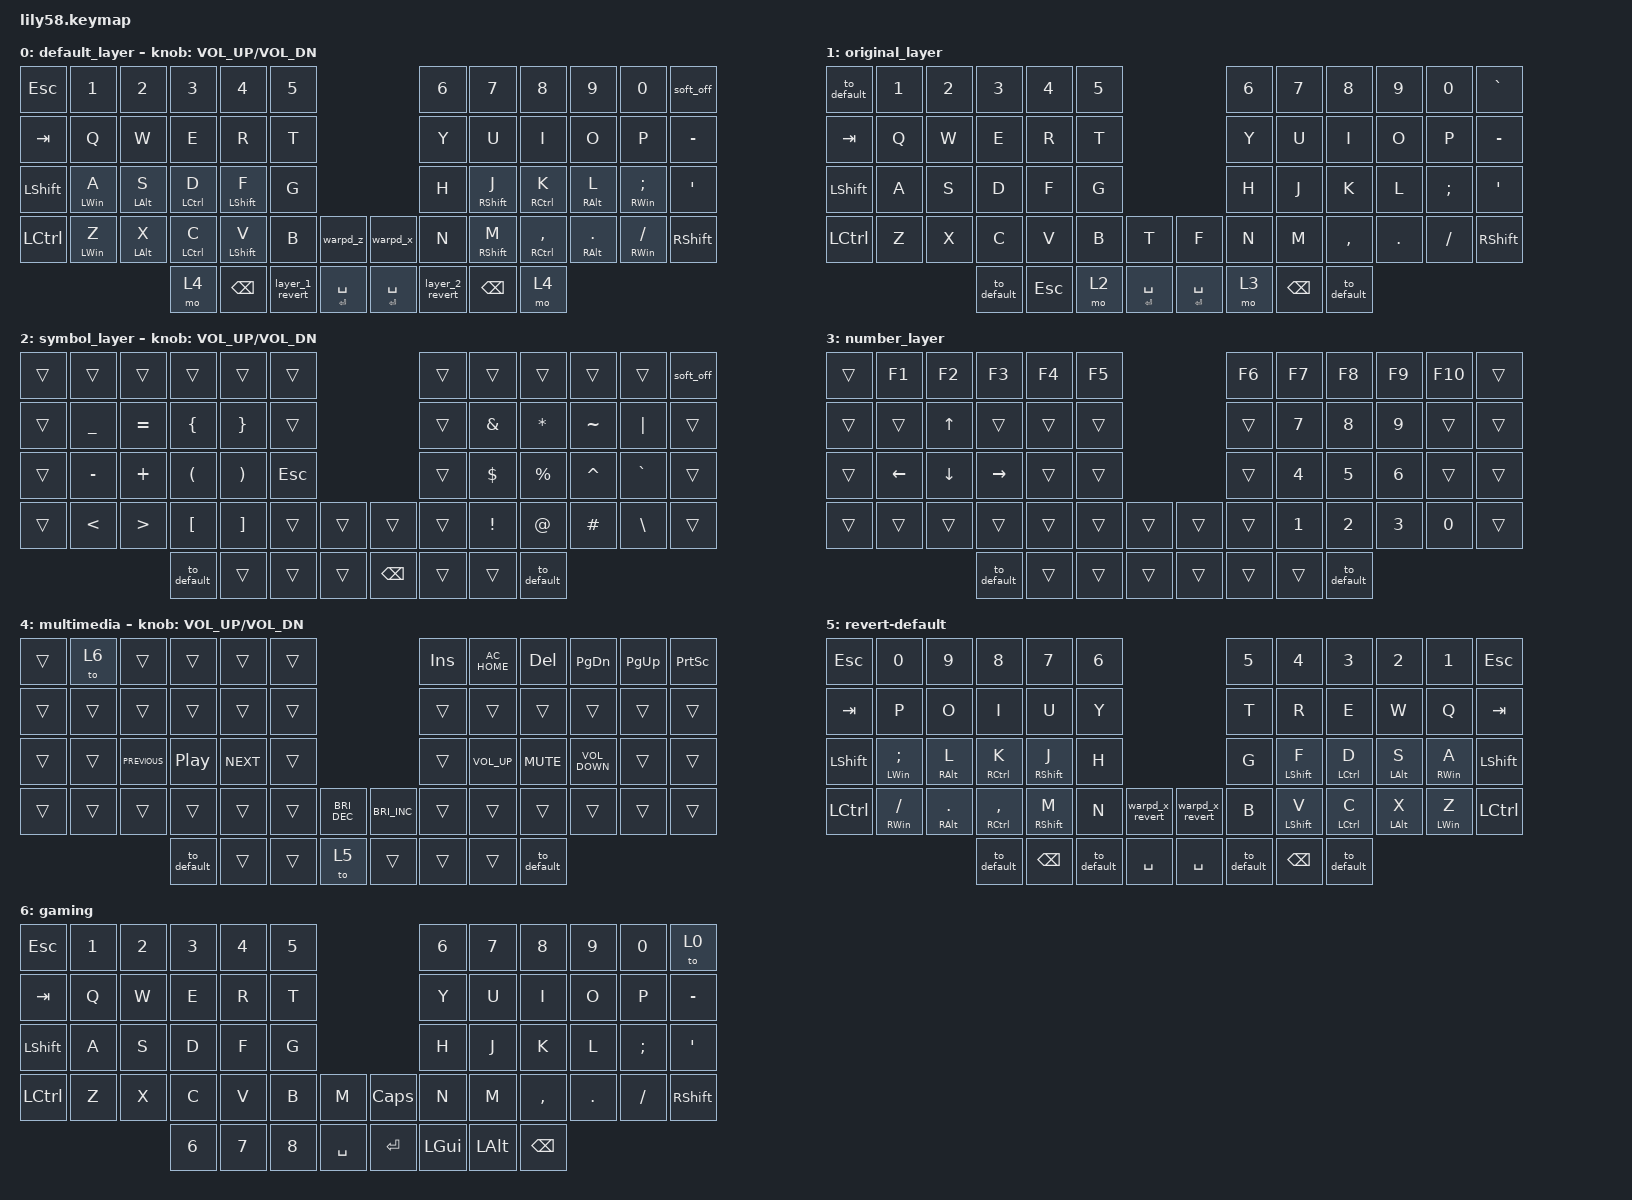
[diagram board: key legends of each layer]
/*
 * Copyright (c) 2020 The ZMK Contributors
 *
 * SPDX-License-Identifier: MIT
 */

#include <behaviors.dtsi>
#include <dt-bindings/zmk/keys.h>

&soft_off {
    hold-time-ms = <1000>; // Only turn off it the key is held for 5 seconds or longer.
};

&soft_off {
    /delete-property/ split-peripheral-off-on-press;

    hold-time-ms = <1000>;
};

/ {
    behaviors {
        layer_1_3: layer_1_3 {
            compatible = "zmk,behavior-tap-dance";
            label = "LAYER_1_3";
            #binding-cells = <0>;
            bindings = <&mo 2>, <&mo 4>;

            tapping-term-ms = <1000>;
        };

        layer_2_4: layer_2_4 {
            compatible = "zmk,behavior-tap-dance";
            label = "LAYER_2_4";
            #binding-cells = <0>;
            bindings = <&mo 3>, <&mo 1>;

            tapping-term-ms = <1000>;
        };

        holdtap: holdtap {
            compatible = "zmk,behavior-hold-tap";
            label = "HOLDTAP";
            bindings = <&kp>, <&kp>;

            #binding-cells = <2>;
            tapping-term-ms = <200>;
            flavor = "tap-preferred";
            quick-tap-ms = <150>;
            hold-trigger-on-release;
        };

        homerow_left: homerow_left {
            compatible = "zmk,behavior-hold-tap";
            label = "HOMEROW_LEFT";
            bindings = <&kp>, <&kp>;

            #binding-cells = <2>;
            tapping-term-ms = <250>;
            flavor = "balanced";
            hold-trigger-on-release;
            hold-trigger-key-positions = <44 6 7 8 9 10 11 18 19 20 21 22 23 30 31 32 33 34 35 44 45 46 47 48 49 54 55 56 57 43>;
            quick-tap-ms = <175>;
        };

        homerow_right: homerow_right {
            compatible = "zmk,behavior-hold-tap";
            label = "HOMEROW_RIGHT";
            bindings = <&kp>, <&kp>;

            #binding-cells = <2>;
            tapping-term-ms = <250>;
            flavor = "balanced";
            hold-trigger-on-release;
            hold-trigger-key-positions = <0 1 2 3 4 5 12 13 14 15 16 17 24 25 26 27 28 29 36 37 38 39 40 41 42 50 51 52 53>;
            quick-tap-ms = <175>;
        };

        layer_1_revert: layer_1_revert {
            compatible = "zmk,behavior-tap-dance";
            label = "LAYER_1_REVERT";
            #binding-cells = <0>;
            bindings = <&mo 2>, <&mo 5>;

            tapping-term-ms = <1000>;
        };

        layer_2_revert: layer_2_revert {
            compatible = "zmk,behavior-tap-dance";
            label = "LAYER_2_REVERT";
            #binding-cells = <0>;
            bindings = <&mo 3>, <&mo 5>;

            tapping-term-ms = <1000>;
        };
    };

    macros {
        warpd_x: warpd_activation {
            compatible = "zmk,behavior-macro";
            #binding-cells = <0>;
            bindings = <&macro_press>, <&kp LA(LG(X)) &to 1>;

            label = "WARPD_ACTIVATION";
        };

        to_default: to_default {
            compatible = "zmk,behavior-macro";
            #binding-cells = <0>;
            bindings = <&kp ESCAPE &to 0>;
            label = "TO_DEFAULT";
        };

        warpd_c: warpd_x {
            compatible = "zmk,behavior-macro";
            #binding-cells = <0>;
            bindings = <&kp LA(LG(C)) &to 1>;
            label = "WARPD_X";
        };

        warpd_z: warpd_v {
            compatible = "zmk,behavior-macro";
            #binding-cells = <0>;
            bindings = <&kp LA(LG(Z)) &to 1>;
            label = "WARPD_V";
        };

        warpd_x_revert: warpd_x_revert {
            compatible = "zmk,behavior-macro";
            #binding-cells = <0>;
            bindings = <&macro_press>, <&kp LA(LG(X)) &to 0>;

            label = "WARPD_X_REVERT";
        };

        warpd_v_revert: warpd_x_original {
            compatible = "zmk,behavior-macro";
            #binding-cells = <0>;
            bindings = <&kp LA(LG(V)) &to 0>;
            label = "WARPD_X_ORIGINAL";
        };

        warpd_copy_and_exit: warpd_copy_and_exit {
            compatible = "zmk,behavior-macro";
            #binding-cells = <0>;
            bindings = <&kp C &to 0>;
            label = "WARPD_COPY_AND_EXIT";
        };
    };

    combos {
        compatible = "zmk,combos";

        backspace {
            bindings = <&kp BACKSPACE>;
            key-positions = <52 55>;
        };
    };

    keymap {
        compatible = "zmk,keymap";

        default_layer {
            // ------------------------------------------------------------------------------------------------------------
            // |  ESC  |  1  |  2  |  3   |  4   |  5   |                   |  6   |  7    |  8    |  9   |   0   |   `   |
            // |  TAB  |  Q  |  W  |  E   |  R   |  T   |                   |  Y   |  U    |  I    |  O   |   P   |   -   |
            // |  CTRL |  A  |  S  |  D   |  F   |  G   |                   |  H   |  J    |  K    |  L   |   ;   |   '   |
            // | SHIFT |  Z  |  X  |  C   |  V   |  B   |   "["  |  |  "]"  |  N   |  M    |  ,    |  .   |   /   | SHIFT |
            //                     | ALT  | GUI  | LOWER|  ENTER |  | SPACE | RAISE| BSPC  | GUI   |

            bindings = <
&kp ESC     &kp N1                    &kp N2                    &kp N3                        &kp N4                      &kp N5                                                         &kp N6           &kp N7                        &kp N8                              &kp N9                           &kp N0                         &soft_off
&kp TAB     &kp Q                     &kp W                     &kp E                         &kp R                       &kp T                                                          &kp Y            &kp U                         &kp I                               &kp O                            &kp P                          &kp MINUS
&kp LSHIFT  &homerow_left LEFT_WIN A  &homerow_left LALT S      &homerow_left LCTRL D         &homerow_left LSHIFT F      &kp G                                                          &kp H            &homerow_right RIGHT_SHIFT J  &homerow_right RIGHT_CONTROL K      &homerow_right RALT L            &homerow_right RIGHT_WIN SEMI  &kp SQT
&kp LCTRL   &homerow_left LEFT_WIN Z  &homerow_left LEFT_ALT X  &homerow_left LEFT_CONTROL C  &homerow_left LEFT_SHIFT V  &kp B            &warpd_z                &warpd_x              &kp N            &homerow_right RIGHT_SHIFT M  &homerow_right RIGHT_CONTROL COMMA  &homerow_right RIGHT_ALT PERIOD  &homerow_right RIGHT_WIN FSLH  &kp RSHFT
                                                                &mo 4                         &kp BACKSPACE               &layer_1_revert  &holdtap ENTER SPACE    &holdtap ENTER SPACE  &layer_2_revert  &kp BACKSPACE                 &mo 4
            >;

            sensor-bindings = <&inc_dec_kp C_VOL_UP C_VOL_DN>;
        };

        original_layer {
            bindings = <
&to_default  &kp N1  &kp N2  &kp N3       &kp N4      &kp N5                                                &kp N6  &kp N7         &kp N8       &kp N9   &kp N0    &kp GRAVE
&kp TAB      &kp Q   &kp W   &kp E        &kp R       &kp T                                                 &kp Y   &kp U          &kp I        &kp O    &kp P     &kp MINUS
&kp LSHFT    &kp A   &kp S   &kp D        &kp F       &kp G                                                 &kp H   &kp J          &kp K        &kp L    &kp SEMI  &kp SQT
&kp LCTRL    &kp Z   &kp X   &kp C        &kp V       &kp B   &kp T                   &kp F                 &kp N   &kp M          &kp COMMA    &kp DOT  &kp FSLH  &kp RSHFT
                             &to_default  &kp ESCAPE  &mo 2   &holdtap ENTER SPACE    &holdtap ENTER SPACE  &mo 3   &kp BACKSPACE  &to_default
            >;
        };

        symbol_layer {
            // ------------------------------------------------------------------------------------------------------------
            // | BTCLR | BT1 | BT2 |  BT3 |  BT4 |  BT5 |                   |      |       |       |      |       |       |
            // |  F1   |  F2 |  F3 |  F4  |  F5  |  F6  |                   |  F7  |  F8   |  F9   |  F10 |  F11  |  F12  |
            // |   `   |  !  |  @  |  #   |  $   |  %   |                   |  ^   |  &    |  *    |  (   |   )   |   ~   |
            // |       |     |     |      |      |      |        |  |       |      |  _    |  +    |  {   |   }   |  "|"  |
            //                     |      |      |      |        |  |       |      |       |       |

            bindings = <
&trans  &trans          &trans            &trans                &trans                 &trans                          &trans  &trans           &trans        &trans     &trans         &soft_off
&trans  &kp UNDERSCORE  &kp EQUAL         &kp LEFT_BRACE        &kp RIGHT_BRACE        &trans                          &trans  &kp AMPERSAND    &kp ASTERISK  &kp TILDE  &kp PIPE       &trans
&trans  &kp MINUS       &kp PLUS          &kp LEFT_PARENTHESIS  &kp RIGHT_PARENTHESIS  &kp ESCAPE                      &trans  &kp DOLLAR       &kp PERCENT   &kp CARET  &kp GRAVE      &trans
&trans  &kp LESS_THAN   &kp GREATER_THAN  &kp LBKT              &kp RBKT               &trans      &trans    &trans    &trans  &kp EXCLAMATION  &kp AT_SIGN   &kp HASH   &kp BACKSLASH  &trans
                                          &to_default           &trans                 &trans      &trans    &kp BSPC  &trans  &trans           &to_default
            >;

            sensor-bindings = <&inc_dec_kp C_VOL_UP C_VOL_DN>;
        };

        number_layer {
            bindings = <
&trans  &kp F1          &kp F2          &kp F3           &kp F4  &kp F5                    &kp F6  &kp F7        &kp F8       &kp F9  &kp F10  &trans
&trans  &trans          &kp UP_ARROW    &trans           &trans  &trans                    &trans  &kp N7        &kp N8       &kp N9  &trans   &trans
&trans  &kp LEFT_ARROW  &kp DOWN_ARROW  &kp RIGHT_ARROW  &trans  &trans                    &trans  &kp N4        &kp N5       &kp N6  &trans   &trans
&trans  &trans          &trans          &trans           &trans  &trans  &trans    &trans  &trans  &kp NUMBER_1  &kp N2       &kp N3  &kp N0   &trans
                                        &to_default      &trans  &trans  &trans    &trans  &trans  &trans        &to_default
            >;
        };

        multimedia {
            // ------------------------------------------------------------------------------------------------------------
            // |       |     |     |      |      |      |                   |      |       |       |      |       |       |
            // |   `   |  1  |  2  |  3   |  4   |  5   |                   |  6   |   7   |   8   |  9   |   0   |       |
            // |   F1  |  F2 |  F3 |  F4  |  F5  |  F6  |                   |      |   <-  |   v   |  ^   |  ->   |       |
            // |   F7  |  F8 |  F9 |  F10 |  F11 |  F12 |        |  |       |  +   |   -   |   =   |  [   |   ]   |   \   |
            //                     |      |      |      |        |  |       |      |       |       |

            bindings = <
&trans  &to 6   &trans          &trans            &trans      &trans                                                &kp INS  &kp C_AC_HOME    &kp DELETE   &kp PAGE_DOWN      &kp PAGE_UP  &kp PRINTSCREEN
&trans  &trans  &trans          &trans            &trans      &trans                                                &trans   &trans           &trans       &trans             &trans       &trans
&trans  &trans  &kp C_PREVIOUS  &kp C_PLAY_PAUSE  &kp C_NEXT  &trans                                                &trans   &kp C_VOLUME_UP  &kp K_MUTE   &kp C_VOLUME_DOWN  &trans       &trans
&trans  &trans  &trans          &trans            &trans      &trans  &kp C_BRIGHTNESS_DEC    &kp C_BRIGHTNESS_INC  &trans   &trans           &trans       &trans             &trans       &trans
                                &to_default       &trans      &trans  &to 5                   &trans                &trans   &trans           &to_default
            >;

            sensor-bindings = <&inc_dec_kp C_VOL_UP C_VOL_DN>;
        };

        revert-default {
            bindings = <
&kp ESC    &kp N0                             &kp N9                        &kp N8                              &kp N7                        &kp N6                                           &kp N5       &kp N4                      &kp N3                        &kp N2                    &kp N1                     &kp ESC
&kp TAB    &kp P                              &kp O                         &kp I                               &kp U                         &kp Y                                            &kp T        &kp R                       &kp E                         &kp W                     &kp Q                      &kp TAB
&kp LSHFT  &homerow_right LEFT_WIN SEMICOLON  &homerow_right RIGHT_ALT L    &homerow_right RIGHT_CONTROL K      &homerow_right RIGHT_SHIFT J  &kp H                                            &kp G        &homerow_left LSHFT F       &homerow_left LEFT_CONTROL D  &homerow_left LEFT_ALT S  &homerow_left RIGHT_WIN A  &kp LSHFT
&kp LCTRL  &homerow_right RIGHT_WIN FSLH      &homerow_right RIGHT_ALT DOT  &homerow_right RIGHT_CONTROL COMMA  &homerow_right RIGHT_SHIFT M  &kp N        &warpd_x_revert    &warpd_x_revert  &kp B        &homerow_left LEFT_SHIFT V  &homerow_left LEFT_CONTROL C  &homerow_left LEFT_ALT X  &homerow_left LEFT_WIN Z   &kp LCTRL
                                                                            &to_default                         &kp BSPC                      &to_default  &kp SPACE          &kp SPACE        &to_default  &kp BSPC                    &to_default
            >;
        };

        gaming {
            bindings = <
&kp ESC    &kp N1  &kp N2  &kp N3  &kp N4  &kp N5                         &kp N6    &kp N7    &kp N8         &kp N9   &kp N0    &to 0
&kp TAB    &kp Q   &kp W   &kp E   &kp R   &kp T                          &kp Y     &kp U     &kp I          &kp O    &kp P     &kp MINUS
&kp LSHFT  &kp A   &kp S   &kp D   &kp F   &kp G                          &kp H     &kp J     &kp K          &kp L    &kp SEMI  &kp SQT
&kp LCTRL  &kp Z   &kp X   &kp C   &kp V   &kp B   &kp M        &kp CAPS  &kp N     &kp M     &kp COMMA      &kp DOT  &kp FSLH  &kp RSHFT
                           &kp N6  &kp N7  &kp N8  &kp SPACE    &kp RET   &kp LGUI  &kp LALT  &kp BACKSPACE
            >;
        };
    };

    conditional_layers { compatible = "zmk,conditional-layers"; };
};
